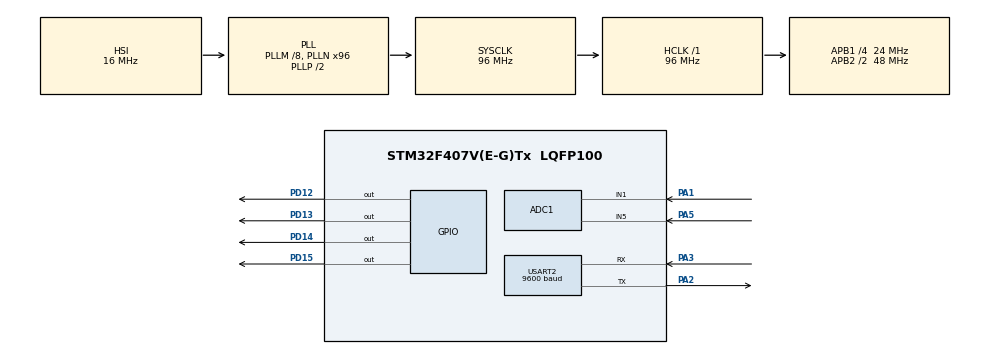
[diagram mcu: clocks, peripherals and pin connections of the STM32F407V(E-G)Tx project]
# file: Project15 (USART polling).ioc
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ADC1.Channel-0\#ChannelRegularConversion=ADC_CHANNEL_VREFINT
ADC1.Channel-1\#ChannelRegularConversion=ADC_CHANNEL_1
ADC1.Channel-2\#ChannelRegularConversion=ADC_CHANNEL_5
ADC1.Channel-3\#ChannelRegularConversion=ADC_CHANNEL_TEMPSENSOR
ADC1.ContinuousConvMode=ENABLE
ADC1.DMAContinuousRequests=ENABLE
ADC1.NbrOfConversion=4
ADC1.NbrOfConversionFlag=1
ADC1.Rank-0\#ChannelRegularConversion=1
ADC1.Rank-1\#ChannelRegularConversion=2
ADC1.Rank-2\#ChannelRegularConversion=3
ADC1.Rank-3\#ChannelRegularConversion=4
ADC1.SamplingTime-0\#ChannelRegularConversion=ADC_SAMPLETIME_480CYCLES
ADC1.SamplingTime-1\#ChannelRegularConversion=ADC_SAMPLETIME_480CYCLES
ADC1.SamplingTime-2\#ChannelRegularConversion=ADC_SAMPLETIME_480CYCLES
ADC1.SamplingTime-3\#ChannelRegularConversion=ADC_SAMPLETIME_480CYCLES
ADC1.ScanConvMode=ENABLE
ADC1.master=1
Dma.ADC1.0.Direction=DMA_PERIPH_TO_MEMORY
Dma.ADC1.0.FIFOMode=DMA_FIFOMODE_DISABLE
Dma.ADC1.0.Instance=DMA2_Stream0
Dma.ADC1.0.MemDataAlignment=DMA_MDATAALIGN_HALFWORD
Dma.ADC1.0.MemInc=DMA_MINC_ENABLE
Dma.ADC1.0.Mode=DMA_CIRCULAR
Dma.ADC1.0.PeriphDataAlignment=DMA_PDATAALIGN_HALFWORD
Dma.ADC1.0.PeriphInc=DMA_PINC_DISABLE
Dma.ADC1.0.Priority=DMA_PRIORITY_VERY_HIGH
Dma.Request0=ADC1
Mcu.Family=STM32F4
Mcu.Name=STM32F407V(E-G)Tx
Mcu.Package=LQFP100
NVIC.ADC_IRQn=true\:0\:0\:false\:false\:true\:true\:true\:true
NVIC.DMA2_Stream0_IRQn=true\:0\:0\:false\:false\:true\:false\:true\:true
NVIC.PriorityGroup=NVIC_PRIORITYGROUP_4
PA1.Signal=ADCx_IN1
PA13.Mode=Serial_Wire
PA13.Signal=SYS_JTMS-SWDIO
PA14.Mode=Serial_Wire
PA14.Signal=SYS_JTCK-SWCLK
PA2.Mode=Asynchronous
PA2.Signal=USART2_TX
PA3.Mode=Asynchronous
PA3.Signal=USART2_RX
PA5.Signal=ADCx_IN5
PD12.Signal=GPIO_Output
PD13.Signal=GPIO_Output
PD14.Signal=GPIO_Output
PD15.Signal=GPIO_Output
ProjectManager.HeapSize=0x200
ProjectManager.StackSize=0x400
ProjectManager.TargetToolchain=MDK-ARM V5.32
RCC.48MHZClocksFreq_Value=48000000
RCC.AHBFreq_Value=96000000
RCC.APB1CLKDivider=RCC_HCLK_DIV4
RCC.APB1Freq_Value=24000000
RCC.APB1TimFreq_Value=48000000
RCC.APB2CLKDivider=RCC_HCLK_DIV2
RCC.APB2Freq_Value=48000000
RCC.APB2TimFreq_Value=96000000
RCC.CortexFreq_Value=96000000
RCC.HCLKFreq_Value=96000000
RCC.HSE_VALUE=25000000
RCC.HSI_VALUE=16000000
RCC.LSE_VALUE=32768
RCC.PLLM=8
RCC.PLLN=96
RCC.SYSCLKFreq_VALUE=96000000
RCC.SYSCLKSource=RCC_SYSCLKSOURCE_PLLCLK
RCC.VCOOutputFreq_Value=192000000
SH.ADCx_IN1.0=ADC1_IN1,IN1
SH.ADCx_IN5.0=ADC1_IN5,IN5
USART2.BaudRate=9600
USART2.VirtualMode=VM_ASYNC
USART2.WordLength=WORDLENGTH_8B
VP_ADC1_TempSens_Input.Mode=IN-TempSens
VP_ADC1_Vref_Input.Mode=IN-Vrefint
board=custom

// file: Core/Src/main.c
/* USER CODE BEGIN Header */
/**
  ******************************************************************************
  * @file           : main.c
  * @brief          : Main program body
  ******************************************************************************
  * @attention
  *
  * Copyright (c) 2023 STMicroelectronics.
  * All rights reserved.
  *
  * This software is licensed under terms that can be found in the LICENSE file
  * in the root directory of this software component.
  * If no LICENSE file comes with this software, it is provided AS-IS.
  *
  ******************************************************************************
  */
/* USER CODE END Header */
#include "main.h"

/* USER CODE BEGIN Includes */
int control;
#include "stdio.h"
#include "stm32f407xx.h"
/* USER CODE END Includes */

/* USER CODE BEGIN PD */
#define VREF_IN ((uint16_t*)((uint32_t) 0x1FFF7A2A))
#define V25 ((float)0.76)
#define avg_slope ((float) 0.0025)
/* USER CODE END PD */

ADC_HandleTypeDef hadc1;
DMA_HandleTypeDef hdma_adc1;

UART_HandleTypeDef huart2;

/* USER CODE BEGIN PV */
uint16_t adc1_data[4];

float Vref=0, Vadc1_ch1=0, Vadc1_ch5=0, Vsensor=0, temp=0;
/* USER CODE END PV */

void SystemClock_Config(void);
static void MX_GPIO_Init(void);
static void MX_DMA_Init(void);
static void MX_ADC1_Init(void);
static void MX_USART2_UART_Init(void);
/* USER CODE BEGIN PFP */
#ifdef __GNUC__
	#define PUTCHAR_PROTOTYPE int __io_putchar(int ch)
#else
	#define PUTCHAR_PROTOTYPE int fputc(int ch, FILE *f)
#endif

PUTCHAR_PROTOTYPE{
	control = HAL_UART_Transmit(&huart2, (uint8_t*)&ch, 1, 100);
//	control = HAL_UART_Transmit_IT(&huart2, (uint8_t*)&ch, 1);
	HAL_Delay(10);
	return ch;
}

void HAL_ADC_ConvCpltCallback(ADC_HandleTypeDef *hadc){
	Vref = (float)3.3 * (*VREF_IN) / adc1_data[0];

	Vadc1_ch1 = Vref * adc1_data[1] / 4095;
	Vadc1_ch5 = Vref * adc1_data[2] / 4095;
	Vsensor = Vref * adc1_data[3] /4095;

	temp = (Vsensor - V25) / avg_slope + 25;
}

void HAL_UART_TxCpltCallback(UART_HandleTypeDef *huart){
	if(huart->Instance == USART2)
		HAL_GPIO_TogglePin(GPIOD, GPIO_PIN_13);
}
/* USER CODE END PFP */

int main(void)
{

  /* MCU Configuration--------------------------------------------------------*/

  /* Reset of all peripherals, Initializes the Flash interface and the Systick. */
  HAL_Init();

  /* Configure the system clock */
  SystemClock_Config();

  /* Initialize all configured peripherals */
  MX_GPIO_Init();
  MX_DMA_Init();
  MX_ADC1_Init();
  MX_USART2_UART_Init();
  /* USER CODE BEGIN 2 */
	HAL_ADC_Start_DMA(&hadc1, (uint32_t*)adc1_data, 4);

//	printf("\n");
//	printf("Vref\r\t|\r\tVadc1_ch1\r\t|\r\tVadc1_ch5\r\t|\r\ttemp");
  /* USER CODE END 2 */

  /* Infinite loop */
  while (1)
  {

    /* USER CODE BEGIN 3 */
		HAL_Delay(1000);

//		printf("4.2%f\r\t", Vref);
//		printf("4.2%f\r\t", Vadc1_ch1);
//		printf("4.2%f\r\t", Vadc1_ch5);
//		printf("4.2%f\r\t\n", temp);
		HAL_UART_Transmit(&huart2, (uint8_t*)adc1_data, 8, 100);
  }
  /* USER CODE END 3 */
}

void SystemClock_Config(void)
{
  RCC_OscInitTypeDef RCC_OscInitStruct = {0};
  RCC_ClkInitTypeDef RCC_ClkInitStruct = {0};

  /** Configure the main internal regulator output voltage
  */
  __HAL_RCC_PWR_CLK_ENABLE();
  __HAL_PWR_VOLTAGESCALING_CONFIG(PWR_REGULATOR_VOLTAGE_SCALE1);

  /** Initializes the RCC Oscillators according to the specified parameters
  * in the RCC_OscInitTypeDef structure.
  */
  RCC_OscInitStruct.OscillatorType = RCC_OSCILLATORTYPE_HSI;
  RCC_OscInitStruct.HSIState = RCC_HSI_ON;
  RCC_OscInitStruct.HSICalibrationValue = RCC_HSICALIBRATION_DEFAULT;
  RCC_OscInitStruct.PLL.PLLState = RCC_PLL_ON;
  RCC_OscInitStruct.PLL.PLLSource = RCC_PLLSOURCE_HSI;
  RCC_OscInitStruct.PLL.PLLM = 8;
  RCC_OscInitStruct.PLL.PLLN = 96;
  RCC_OscInitStruct.PLL.PLLP = RCC_PLLP_DIV2;
  RCC_OscInitStruct.PLL.PLLQ = 4;
  if (HAL_RCC_OscConfig(&RCC_OscInitStruct) != HAL_OK)
  {
    Error_Handler();
  }

  /** Initializes the CPU, AHB and APB buses clocks
  */
  RCC_ClkInitStruct.ClockType = RCC_CLOCKTYPE_HCLK|RCC_CLOCKTYPE_SYSCLK
                              |RCC_CLOCKTYPE_PCLK1|RCC_CLOCKTYPE_PCLK2;
  RCC_ClkInitStruct.SYSCLKSource = RCC_SYSCLKSOURCE_PLLCLK;
  RCC_ClkInitStruct.AHBCLKDivider = RCC_SYSCLK_DIV1;
  RCC_ClkInitStruct.APB1CLKDivider = RCC_HCLK_DIV4;
  RCC_ClkInitStruct.APB2CLKDivider = RCC_HCLK_DIV2;

  if (HAL_RCC_ClockConfig(&RCC_ClkInitStruct, FLASH_LATENCY_3) != HAL_OK)
  {
    Error_Handler();
  }
}

static void MX_ADC1_Init(void)
{

  ADC_ChannelConfTypeDef sConfig = {0};

  /** Configure the global features of the ADC (Clock, Resolution, Data Alignment and number of conversion)
  */
  hadc1.Instance = ADC1;
  hadc1.Init.ClockPrescaler = ADC_CLOCK_SYNC_PCLK_DIV2;
  hadc1.Init.Resolution = ADC_RESOLUTION_12B;
  hadc1.Init.ScanConvMode = ENABLE;
  hadc1.Init.ContinuousConvMode = ENABLE;
  hadc1.Init.DiscontinuousConvMode = DISABLE;
  hadc1.Init.ExternalTrigConvEdge = ADC_EXTERNALTRIGCONVEDGE_NONE;
  hadc1.Init.ExternalTrigConv = ADC_SOFTWARE_START;
  hadc1.Init.DataAlign = ADC_DATAALIGN_RIGHT;
  hadc1.Init.NbrOfConversion = 4;
  hadc1.Init.DMAContinuousRequests = ENABLE;
  hadc1.Init.EOCSelection = ADC_EOC_SINGLE_CONV;
  if (HAL_ADC_Init(&hadc1) != HAL_OK)
  {
    Error_Handler();
  }

  /** Configure for the selected ADC regular channel its corresponding rank in the sequencer and its sample time.
  */
  sConfig.Channel = ADC_CHANNEL_VREFINT;
  sConfig.Rank = 1;
  sConfig.SamplingTime = ADC_SAMPLETIME_480CYCLES;
  if (HAL_ADC_ConfigChannel(&hadc1, &sConfig) != HAL_OK)
  {
    Error_Handler();
  }

  /** Configure for the selected ADC regular channel its corresponding rank in the sequencer and its sample time.
  */
  sConfig.Channel = ADC_CHANNEL_1;
  sConfig.Rank = 2;
  if (HAL_ADC_ConfigChannel(&hadc1, &sConfig) != HAL_OK)
  {
    Error_Handler();
  }

  /** Configure for the selected ADC regular channel its corresponding rank in the sequencer and its sample time.
  */
  sConfig.Channel = ADC_CHANNEL_5;
  sConfig.Rank = 3;
  if (HAL_ADC_ConfigChannel(&hadc1, &sConfig) != HAL_OK)
  {
    Error_Handler();
  }

  /** Configure for the selected ADC regular channel its corresponding rank in the sequencer and its sample time.
  */
  sConfig.Channel = ADC_CHANNEL_TEMPSENSOR;
  sConfig.Rank = 4;
  if (HAL_ADC_ConfigChannel(&hadc1, &sConfig) != HAL_OK)
  {
    Error_Handler();
  }

}

static void MX_USART2_UART_Init(void)
{

  huart2.Instance = USART2;
  huart2.Init.BaudRate = 9600;
  huart2.Init.WordLength = UART_WORDLENGTH_8B;
  huart2.Init.StopBits = UART_STOPBITS_1;
  huart2.Init.Parity = UART_PARITY_NONE;
  huart2.Init.Mode = UART_MODE_TX_RX;
  huart2.Init.HwFlowCtl = UART_HWCONTROL_NONE;
  huart2.Init.OverSampling = UART_OVERSAMPLING_16;
  if (HAL_UART_Init(&huart2) != HAL_OK)
  {
    Error_Handler();
  }

}

static void MX_DMA_Init(void)
{

  /* DMA controller clock enable */
  __HAL_RCC_DMA2_CLK_ENABLE();

  /* DMA interrupt init */
  /* DMA2_Stream0_IRQn interrupt configuration */
  HAL_NVIC_SetPriority(DMA2_Stream0_IRQn, 0, 0);
  HAL_NVIC_EnableIRQ(DMA2_Stream0_IRQn);

}

static void MX_GPIO_Init(void)
{
  GPIO_InitTypeDef GPIO_InitStruct = {0};

  /* GPIO Ports Clock Enable */
  __HAL_RCC_GPIOA_CLK_ENABLE();
  __HAL_RCC_GPIOD_CLK_ENABLE();

  /*Configure GPIO pin Output Level */
  HAL_GPIO_WritePin(GPIOD, GPIO_PIN_12|GPIO_PIN_13|GPIO_PIN_14|GPIO_PIN_15, GPIO_PIN_RESET);

  /*Configure GPIO pins : PD12 PD13 PD14 PD15 */
  GPIO_InitStruct.Pin = GPIO_PIN_12|GPIO_PIN_13|GPIO_PIN_14|GPIO_PIN_15;
  GPIO_InitStruct.Mode = GPIO_MODE_OUTPUT_PP;
  GPIO_InitStruct.Pull = GPIO_NOPULL;
  GPIO_InitStruct.Speed = GPIO_SPEED_FREQ_LOW;
  HAL_GPIO_Init(GPIOD, &GPIO_InitStruct);

}

void Error_Handler(void)
{
  __disable_irq();
  while (1)
  {
  }
}
